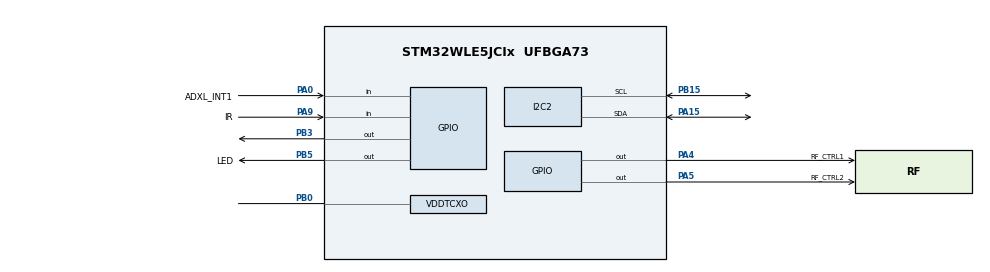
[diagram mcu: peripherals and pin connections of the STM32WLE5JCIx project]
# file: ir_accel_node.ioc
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ADC.NbrOfConversion=1
ADC.SelectedChannel=ADC_CHANNEL_VREFINT
I2C2.Timing=0x10805D88
Mcu.Family=STM32WL
Mcu.Name=STM32WLE5JCIx
Mcu.Package=UFBGA73
NVIC.PVD_PVM_IRQn=true\:0\:0\:false\:false\:true\:true\:true\:true
NVIC.PriorityGroup=NVIC_PRIORITYGROUP_4
NVIC.SUBGHZ_Radio_IRQn=true\:0\:0\:false\:false\:true\:true\:true\:true
NVIC.TIM17_IRQn=true\:15\:0\:false\:false\:true\:false\:true\:true
NVIC.TimeBase=TIM17_IRQn
NVIC.TimeBaseIP=TIM17
OSC_IN.Mode=HSE-TCXO
OSC_IN.Signal=RCC_OSC_IN
PA0.GPIO_Label=ADXL_INT1
PA0.Signal=GPIO_Input
PA15.Mode=I2C
PA15.Signal=I2C2_SDA
PA4.GPIO_Label=RF_CTRL1
PA4.Signal=GPIO_Output
PA5.GPIO_Label=RF_CTRL2
PA5.Signal=GPIO_Output
PA9.GPIO_Label=IR
PA9.Signal=GPIO_Input
PB0-VDD_TCXO.Mode=HSE-TCXO
PB0-VDD_TCXO.Signal=VDDTCXO
PB15.Mode=I2C
PB15.Signal=I2C2_SCL
PB3.Signal=GPIO_Output
PB5.GPIO_Label=LED
PB5.PinState=GPIO_PIN_SET
PB5.Signal=GPIO_Output
PB6.Signal=USART1_TX
PB7.Signal=USART1_RX
PC14-OSC32_IN.Mode=LSE-External-Oscillator
PC14-OSC32_IN.Signal=RCC_OSC32_IN
PC15-OSC32_OUT.Mode=LSE-External-Oscillator
PC15-OSC32_OUT.Signal=RCC_OSC32_OUT
ProjectManager.HeapSize=0x200
ProjectManager.StackSize=0x400
ProjectManager.TargetToolchain=STM32CubeIDE
RCC.AHBFreq_Value=48000000
RCC.APB1Freq_Value=48000000
RCC.APB1TimFreq_Value=48000000
RCC.APB2Freq_Value=48000000
RCC.APB2TimFreq_Value=48000000
RCC.APB3Freq_Value=48000000
RCC.CortexFreq_Value=48000000
RCC.HCLKFreq_Value=48000000
RCC.HSE_VALUE=32000000
RCC.HSI_VALUE=16000000
RCC.LSE_VALUE=32768
RCC.PLLN=24
RCC.RTCClockSelection=RCC_RTCCLKSOURCE_LSE
RCC.SYSCLKFreq_VALUE=48000000
RCC.SYSCLKSource=RCC_SYSCLKSOURCE_PLLCLK
RCC.VCOOutputFreq_Value=96000000
RTC.Alarm-Alarm\ A=RTC_ALARM_A
RTC.AsynchPrediv=31
RTC.BinMode=RTC_BINARY_ONLY
RTC.BinaryAutoClr_A-Alarm\ A=RTC_ALARMSUBSECONDBIN_AUTOCLR_NO
SUBGHZ_PHY.USE_LPM=true
SUBGHZ_PHY.USE_RTC=true
SUBGHZ_PHY.USE_UART=false
SubGHz_Phy.BSP.number=1
SubGHz_Phy0.BSP.STBoard=false
SubGHz_Phy0.BSP.api=Unknown
SubGHz_Phy0.BSP.condition=\!SEM_SUBGHZ_USER_APPLICATION | SEM_SUBGHZ_USE_RTC
SubGHz_Phy0.BSP.instance=RTC
SubGHz_Phy0.BSP.ip=RTC
SubGHz_Phy0.BSP.mode=RTC Enabled
SubGHz_Phy0.BSP.name=RTC
SubGHz_Phy0.BSP.solution=RTC
VP_ADC_Vref_Input.Mode=IN-Vrefint
VP_ADV_TRACE_VS_ADV_TRACE.Mode=ADV_TRACE_Enabled
VP_MISC_VS_MISC.Mode=MISC_Enabled
VP_RTC_VS_RTC_Activate.Mode=RTC_Enabled
VP_RTC_VS_RTC_Alarm_A_Intern.Mode=Alarm A
VP_RTC_VS_RTC_Calendar.Mode=RTC_Calendar
VP_SEQUENCER_VS_SEQUENCER.Mode=SEQUENCER_Enabled
VP_SUBGHZ_PHY_VS_SubGhzPhy.Mode=SubGhzPhy_Enabled
VP_SUBGHZ_VS_SUBGHZ.Mode=SUBGHZ_Activate
VP_SYS_VS_tim17.Mode=TIM17
VP_TIMER_VS_TIMER.Mode=TIMER_Enabled
VP_TINY_LPM_VS_TINY_LPM.Mode=TINY_LPM_Enabled
board=custom

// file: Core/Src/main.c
/* USER CODE BEGIN Header */
/**
 ******************************************************************************
 * @file           : main.c
 * @brief          : Main program body
 ******************************************************************************
 * @attention
 *
 * Copyright (c) 2026 STMicroelectronics.
 * All rights reserved.
 *
 * This software is licensed under terms that can be found in the LICENSE file
 * in the root directory of this software component.
 * If no LICENSE file comes with this software, it is provided AS-IS.
 *
 ******************************************************************************
 */
/* USER CODE END Header */
#include "main.h"
#include "adc.h"
#include "i2c.h"
#include "rtc.h"
#include "app_subghz_phy.h"
#include "gpio.h"

/* USER CODE BEGIN Includes */
#include <stdbool.h>
#include "adxl345.h"
#include "power_monitor.h"
extern volatile bool wake_from_accel;
/* USER CODE END Includes */

/* USER CODE BEGIN PV */
bool loriota_has_saved_state = false;
bool loriota_rtc_preserved = false;
bool loriota_woke_from_rtc = false;
/* USER CODE END PV */

void SystemClock_Config(void);

int main(void) {

	/* MCU Configuration--------------------------------------------------------*/

	/* Reset of all peripherals, Initializes the Flash interface and the Systick. */
	HAL_Init();

	/* USER CODE BEGIN Init */
	HAL_PWR_DisableWakeUpPin(PWR_WAKEUP_PIN1);

	__HAL_PWR_CLEAR_FLAG(PWR_FLAG_WU);
	__HAL_PWR_CLEAR_FLAG(PWR_FLAG_SB);

	HAL_PWREx_DisablePullUpPullDownConfig();
	/* USER CODE END Init */

	/* Configure the system clock */
	SystemClock_Config();

	/* USER CODE BEGIN SysInit */
	hrtc.Instance = RTC;

	__HAL_RCC_RTCAPB_CLK_ENABLE();

	uint32_t rtc_signature = HAL_RTCEx_BKUPRead(&hrtc,
			LORIOTA_BKP_RTC_SIGNATURE_REGISTER);

	loriota_rtc_preserved = (rtc_signature == LORIOTA_RTC_STATE_SIGNATURE)
			&& (__HAL_RCC_GET_RTC_SOURCE() == RCC_RTCCLKSOURCE_LSE);

	loriota_has_saved_state = false;
	if (loriota_rtc_preserved) {
		uint32_t app_signature = HAL_RTCEx_BKUPRead(&hrtc,
				LORIOTA_BKP_APP_SIGNATURE_REGISTER);
		loriota_has_saved_state = (app_signature == LORIOTA_IR_STATE_SIGNATURE);
	}

	loriota_woke_from_rtc = loriota_has_saved_state
			&& (__HAL_RTC_WAKEUPTIMER_GET_FLAG(
					&hrtc, RTC_FLAG_WUTF) != RESET);
	/* USER CODE END SysInit */

	/* Initialize all configured peripherals */
	MX_GPIO_Init();
	MX_RTC_Init();
	MX_SubGHz_Phy_Init();
	MX_I2C2_Init();
	MX_ADC_Init();
	/* USER CODE BEGIN 2 */
	PowerMonitor_Init();
	HAL_PWR_EnableBkUpAccess();

	if (!loriota_rtc_preserved) {
		HAL_RTCEx_BKUPWrite(&hrtc,
		LORIOTA_BKP_RTC_SIGNATURE_REGISTER,
		LORIOTA_RTC_STATE_SIGNATURE);
	}

	if (HAL_RTCEx_DeactivateWakeUpTimer(&hrtc) != HAL_OK) {
		Error_Handler();
	}

	HAL_NVIC_ClearPendingIRQ(RTC_WKUP_IRQn);
	HAL_NVIC_SetPriority(RTC_WKUP_IRQn, 1, 0);
	HAL_NVIC_EnableIRQ(RTC_WKUP_IRQn);

	if (loriota_has_saved_state) {

		uint8_t int_source = 0;

		if (ADXL345_ReadInterruptSource(&int_source) == HAL_OK) {

			if (int_source & 0x10U) {
				wake_from_accel = true;
			}
		}
	}

	ADXL345_Initialize();

	HAL_GPIO_WritePin(GPIOB, GPIO_PIN_5, GPIO_PIN_SET);

	/* USER CODE END 2 */

	/* Infinite loop */
	while (1) {
		MX_SubGHz_Phy_Process();

	}
}

void SystemClock_Config(void) {
	RCC_OscInitTypeDef RCC_OscInitStruct = { 0 };
	RCC_ClkInitTypeDef RCC_ClkInitStruct = { 0 };

	/** Configure LSE Drive Capability
	 */
	HAL_PWR_EnableBkUpAccess();
	__HAL_RCC_LSEDRIVE_CONFIG(RCC_LSEDRIVE_LOW);

	/** Configure the main internal regulator output voltage
	 */
	__HAL_PWR_VOLTAGESCALING_CONFIG(PWR_REGULATOR_VOLTAGE_SCALE1);

	/** Initializes the CPU, AHB and APB buses clocks
	 */
	RCC_OscInitStruct.OscillatorType = RCC_OSCILLATORTYPE_LSE
			| RCC_OSCILLATORTYPE_MSI;
	RCC_OscInitStruct.LSEState = RCC_LSE_ON;
	RCC_OscInitStruct.MSIState = RCC_MSI_ON;
	RCC_OscInitStruct.MSICalibrationValue = RCC_MSICALIBRATION_DEFAULT;
	RCC_OscInitStruct.MSIClockRange = RCC_MSIRANGE_6;
	RCC_OscInitStruct.PLL.PLLState = RCC_PLL_ON;
	RCC_OscInitStruct.PLL.PLLSource = RCC_PLLSOURCE_MSI;
	RCC_OscInitStruct.PLL.PLLM = RCC_PLLM_DIV1;
	RCC_OscInitStruct.PLL.PLLN = 24;
	RCC_OscInitStruct.PLL.PLLP = RCC_PLLP_DIV2;
	RCC_OscInitStruct.PLL.PLLR = RCC_PLLR_DIV2;
	RCC_OscInitStruct.PLL.PLLQ = RCC_PLLQ_DIV2;
	if (HAL_RCC_OscConfig(&RCC_OscInitStruct) != HAL_OK) {
		Error_Handler();
	}

	/** Configure the SYSCLKSource, HCLK, PCLK1 and PCLK2 clocks dividers
	 */
	RCC_ClkInitStruct.ClockType = RCC_CLOCKTYPE_HCLK3 | RCC_CLOCKTYPE_HCLK
			| RCC_CLOCKTYPE_SYSCLK | RCC_CLOCKTYPE_PCLK1 | RCC_CLOCKTYPE_PCLK2;
	RCC_ClkInitStruct.SYSCLKSource = RCC_SYSCLKSOURCE_PLLCLK;
	RCC_ClkInitStruct.AHBCLKDivider = RCC_SYSCLK_DIV1;
	RCC_ClkInitStruct.APB1CLKDivider = RCC_HCLK_DIV1;
	RCC_ClkInitStruct.APB2CLKDivider = RCC_HCLK_DIV1;
	RCC_ClkInitStruct.AHBCLK3Divider = RCC_SYSCLK_DIV1;

	if (HAL_RCC_ClockConfig(&RCC_ClkInitStruct, FLASH_LATENCY_2) != HAL_OK) {
		Error_Handler();
	}
}

void HAL_TIM_PeriodElapsedCallback(TIM_HandleTypeDef *htim) {
	if (htim->Instance == TIM17) {
		HAL_IncTick();
	}
}

void Error_Handler(void) {
	__disable_irq();
	while (1) {
	}
}
